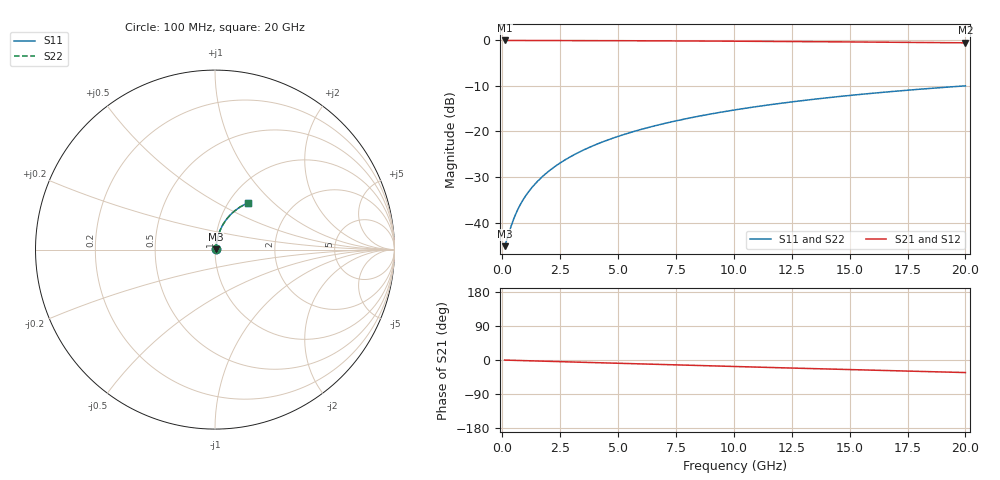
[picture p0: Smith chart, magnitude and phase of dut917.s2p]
! Touchstone file exported from HFSS 2026.1.0
!  File:  C:/ffzhzh/LocalFiles/Ansys_Project_Files/temp_train_BSMRDL_917_1783171686_55132.aedt
!  Generated:  09:29:23 PM Jul  4, 2026
!  Design:  BSMRDL
!  Project:  temp_train_BSMRDL_917_1783171686_55132
! Variables:
!  h_bsmrdl = 2.04um
!  h_ox = 20um
!  h_rdl = 5um
!  h_sub = 80um
!  h_tmrdl = 5um
!  h_tsv = 80um
!  h_via = 3um
!  l_bsmrdl = 470um
!  l_sub = 870um
!  l_tmrdl = 200um
!  m_sub = 200um
!  pitch = 35.31um
!  r_tsv = 6um
!  s_tmrdl = 10um
!  w_bsmrdl = 16.64um
!  w_sub = 500um
!  w_tmrdl = 12um
!  x_tsv_center1 = 206um
!  x_tsv_center2 = 692.64um
!  x_tsv_center3 = 904.64um
!  x_tsv_center4 = 1391.28um
!  x_tsv_center5 = 1603.28um
!  x_tsv_center6 = 2089.92um
# GHz S MA R 50.000000
! Terminal data exported
! Port[1] = BSM_RDL1_1_T1
! Port[2] = BSM_RDL1_1_T2
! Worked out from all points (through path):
!   200 points, 100 MHz to 20 GHz, reference 50 ohm
!   highest |S21| = -0.04 dB at 100 MHz (marker M1); lowest = -0.6 dB at 20 GHz (marker M2)
!   group delay of S21, straight-line fit = 4.61 ps
!   lowest |S11| = -45.2 dB at 100 MHz (marker M3), VSWR 1.01, Z = 50.5 + j0.197 ohm
!   |S11| at or under -10 dB: start of sweep to end of sweep
!   |S22| runs from -45.2 to -10.0 dB; largest |S21 - S12| = 3.5e-15
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0.1  0.005523 20.7  0.9948 -0.2  0.9948 -0.2  0.005523 20.7
! Gamma 0 0 0 0
! Port Impedance 50 0 50 0
0.2  0.006535 36.5  0.9948 -0.4  0.9948 -0.4  0.006535 36.5
0.4  0.009467 54.2  0.9945 -0.7  0.9945 -0.7  0.009467 54.2
0.6  0.01278 62.4  0.9942 -1.1  0.9942 -1.1  0.01278 62.4
0.7  0.01446 65.0  0.9941 -1.3  0.9941 -1.3  0.01446 65.0
0.9  0.01785 68.6  0.9938 -1.6  0.9938 -1.6  0.01785 68.6
1.1  0.02123 71.0  0.9936 -2.0  0.9936 -2.0  0.02123 71.0
1.3  0.02462 72.7  0.9934 -2.3  0.9934 -2.3  0.02462 72.7
1.7  0.03144 75.0  0.993 -3.0  0.993 -3.0  0.03144 75.0
2.2  0.04001 76.5  0.9925 -3.9  0.9925 -3.9  0.04001 76.5
2.8  0.05035 77.3  0.9919 -4.9  0.9919 -4.9  0.05035 77.3
3.5  0.06245 77.5  0.9911 -6.1  0.9911 -6.1  0.06245 77.5
4.2  0.07453 77.2  0.9901 -7.3  0.9901 -7.3  0.07453 77.2
5  0.08829 76.6  0.9888 -8.7  0.9888 -8.7  0.08829 76.6
5.9  0.1037 75.7  0.9871 -10.2  0.9871 -10.2  0.1037 75.6
6.8  0.1189 74.5  0.9852 -11.7  0.9852 -11.7  0.1189 74.5
8.3  0.1439 72.5  0.9815 -14.3  0.9815 -14.3  0.1439 72.5
10.1  0.1733 69.9  0.9763 -17.3  0.9763 -17.3  0.1733 69.9
11.7  0.1986 67.4  0.9711 -19.9  0.9711 -19.9  0.1986 67.4
13.4  0.2246 64.8  0.9649 -22.7  0.9649 -22.7  0.2246 64.8
16.7  0.2724 59.8  0.9517 -28.0  0.9517 -28.0  0.2724 59.8
20  0.3162 54.8  0.9373 -33.1  0.9373 -33.1  0.3162 54.8
